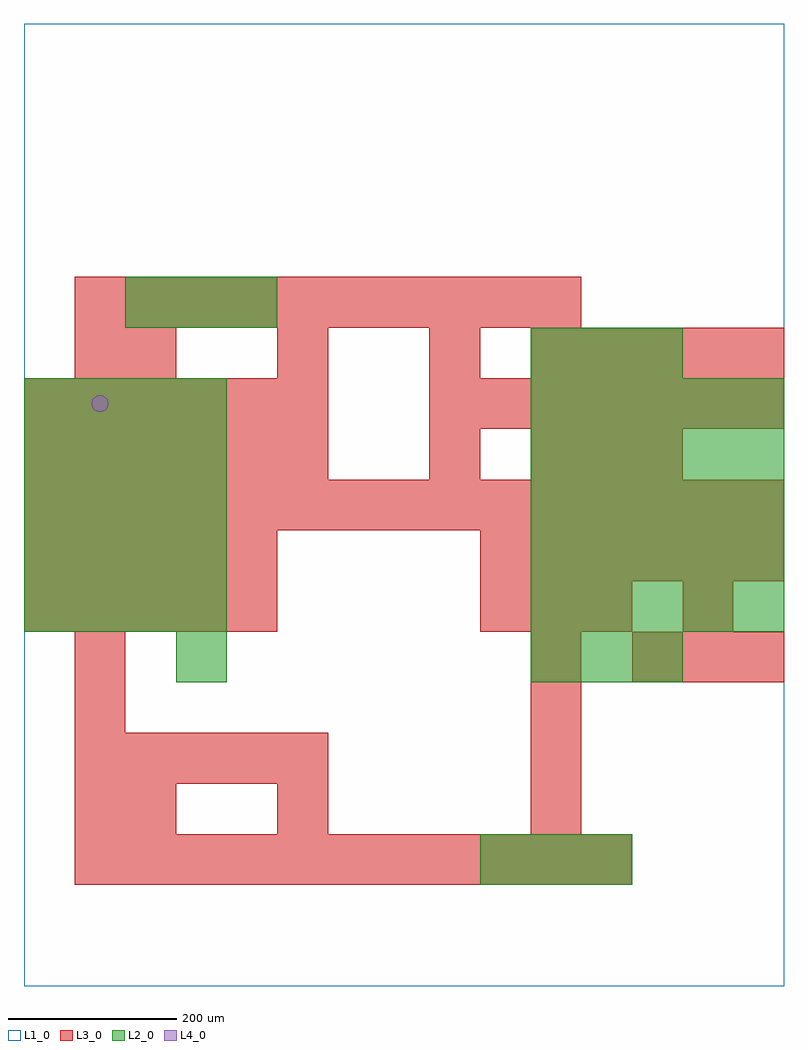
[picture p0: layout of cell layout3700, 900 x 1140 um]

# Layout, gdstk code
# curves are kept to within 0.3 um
import gdstk
lib = gdstk.Library(unit=1e-6, precision=1e-09)
def R(c, l, rs):  # rectangles x0, y0, x1, y1
    for r in rs: c.add(gdstk.rectangle(r[:2], r[2:], *l))
def A(c, l, x, y, w, h, nx, ny, dx, dy):  # array of equal rectangles
    R(c, l, [(x+i*dx, y+j*dy, x+i*dx+w, y+j*dy+h) for i in range(nx) for j in range(ny)])
def P(c, l, *ps):  # polygons
    for p in ps: c.add(gdstk.Polygon(p, *l))
L1_0 = (1, 0)
L2_0 = (2, 0)
L3_0 = (3, 0)
L4_0 = (4, 0)

layout3700 = lib.new_cell('layout3700')
R(layout3700, L1_0, [(0,0,900,1140)])
A(layout3700, L2_0, 540, 120, 60, 60, 3, 1, 60, 0)
A(layout3700, L2_0, 600, 360, 60, 60, 3, 2, 60, 360)
A(layout3700, L2_0, 0, 420, 60, 60, 4, 5, 60, 60)
A(layout3700, L2_0, 600, 420, 60, 60, 5, 5, 60, 60)
A(layout3700, L2_0, 120, 780, 60, 60, 3, 1, 60, 0)
R(layout3700, L2_0, [(180,360,240,420)])
A(layout3700, L3_0, 60, 120, 60, 60, 11, 1, 60, 0)
A(layout3700, L3_0, 600, 180, 60, 60, 1, 4, 0, 60)
A(layout3700, L3_0, 60, 240, 60, 60, 5, 1, 60, 0)
A(layout3700, L3_0, 720, 360, 60, 60, 3, 1, 60, 0)
A(layout3700, L3_0, 0, 420, 60, 60, 5, 2, 60, 60)
A(layout3700, L3_0, 540, 420, 60, 60, 3, 1, 60, 0)
A(layout3700, L3_0, 540, 480, 60, 60, 6, 1, 60, 0)
A(layout3700, L3_0, 0, 540, 60, 60, 15, 1, 60, 0)
A(layout3700, L3_0, 0, 600, 60, 60, 6, 2, 60, 60)
A(layout3700, L3_0, 600, 600, 60, 60, 3, 1, 60, 0)
A(layout3700, L3_0, 480, 660, 60, 60, 7, 1, 60, 0)
A(layout3700, L3_0, 120, 720, 60, 60, 3, 1, 180, 0)
A(layout3700, L3_0, 600, 720, 60, 60, 5, 1, 60, 0)
A(layout3700, L3_0, 60, 780, 60, 60, 10, 1, 60, 0)
R(layout3700, L3_0, [(60,180,120,240), (120,180,180,240), (300,180,360,240), (60,300,120,360), (60,360,120,420), (780,420,840,480), (480,600,540,660), (60,720,120,780)])
P(layout3700, L4_0, [(100,690),(99.239,693.827),(97.071,697.071),(93.827,699.239),(90,700),(86.173,699.239),(82.929,697.071),(80.761,693.827),(80,690),(80.761,686.173),(82.929,682.929),(86.173,680.761),(90,680),(93.827,680.761),(97.071,682.929),(99.239,686.173)])

lib.write_gds('layout3700.gds')
